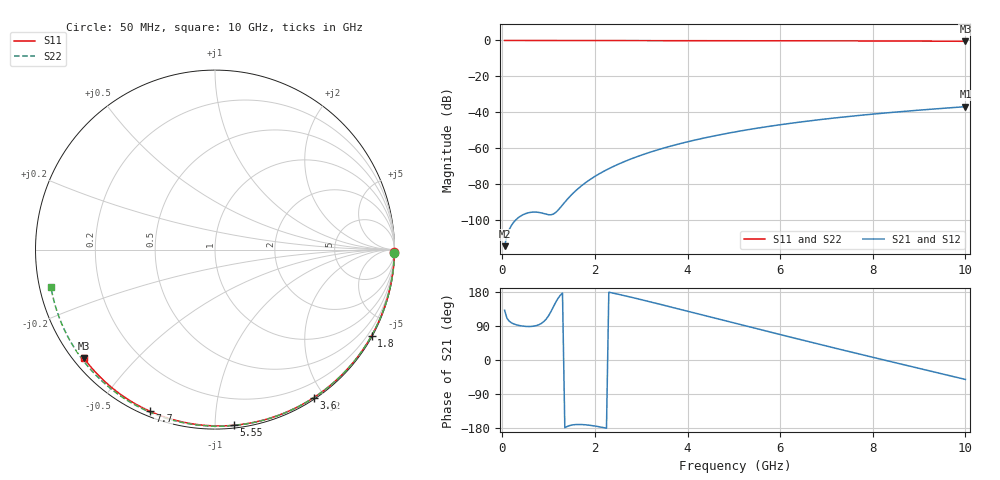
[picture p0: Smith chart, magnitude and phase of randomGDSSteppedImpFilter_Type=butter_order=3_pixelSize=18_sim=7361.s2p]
! freq	dB(S11)	phase(S11)	dB(S12)	phase(S12)
!  dB(S21)	phase(S21)	dB(S22)	phase(S22)
!S-par simulation data
#  GHz  S  DB  R 50
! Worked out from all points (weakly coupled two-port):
!   200 points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, 50 MHz to 10 GHz, reference 50 ohm
!   highest |S21| = -36.84 dB at 10 GHz (marker M1); lowest = -114.4 dB at 50 MHz (marker M2)
!   lowest |S11| = -0.5 dB at 10 GHz (marker M3), VSWR 37.76, Z = 1.5 - j18 ohm
!   |S11| at or under -10 dB: nowhere
!   |S22| runs from -0.6 to 0.0 dB; largest |S21 - S12| = 0
!   S11 on the Smith chart (normalised r, x): 50 MHz: open; 1.8 GHz: 0.03, -3.89; 3.6 GHz: 0.02, -1.87; 5.55 GHz: 0.02, -1.11; 7.7 GHz: 0.02, -0.67; 10 GHz: 0.03, -0.36
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0.05  -0.00 -0.8  -114.39 131.3  -114.39 131.3  -0.00 -1.0
0.45  -0.01 -7.3  -96.87 89.3  -96.87 89.3  -0.01 -8.6
0.85  -0.02 -13.7  -95.93 97.0  -95.93 97.0  -0.02 -16.1
1.3  -0.03 -20.9  -91.46 176.7  -91.46 176.7  -0.03 -24.5
1.75  -0.04 -28.0  -80.01 -170.5  -80.01 -170.5  -0.04 -32.8
1.8  -0.04 -28.8  -79.04 -171.0  -79.04 -171.0  -0.04 -33.7
1.95  -0.04 -31.2  -76.40 -173.3  -76.40 -173.3  -0.05 -36.5
2.1  -0.04 -33.5  -74.06 -176.3  -74.06 -176.3  -0.05 -39.2
2.3  -0.05 -36.6  -71.30 178.9  -71.30 178.9  -0.05 -42.8
2.5  -0.05 -39.7  -68.87 173.6  -68.87 173.6  -0.06 -46.4
2.9  -0.06 -45.8  -64.71 162.2  -64.71 162.2  -0.07 -53.5
3.4  -0.07 -53.3  -60.48 147.2  -60.48 147.2  -0.08 -62.3
3.6  -0.08 -56.3  -59.01 141.1  -59.01 141.1  -0.09 -65.7
4.3  -0.09 -66.5  -54.57 119.5  -54.57 119.5  -0.11 -77.5
5.05  -0.12 -77.1  -50.75 96.3  -50.75 96.3  -0.14 -89.8
5.55  -0.14 -83.9  -48.59 80.9  -48.59 80.9  -0.16 -97.8
6.1  -0.16 -91.3  -46.50 64.1  -46.50 64.1  -0.19 -106.5
6.7  -0.19 -99.2  -44.51 45.9  -44.51 45.9  -0.23 -115.8
7.7  -0.26 -112.0  -41.70 16.0  -41.70 16.0  -0.30 -131.1
8.35  -0.31 -120.2  -40.14 -3.1  -40.14 -3.1  -0.36 -141.1
9.2  -0.38 -130.7  -38.34 -27.9  -38.34 -27.9  -0.46 -154.3
10  -0.46 -140.5  -36.84 -51.3  -36.84 -51.3  -0.56 -167.1
